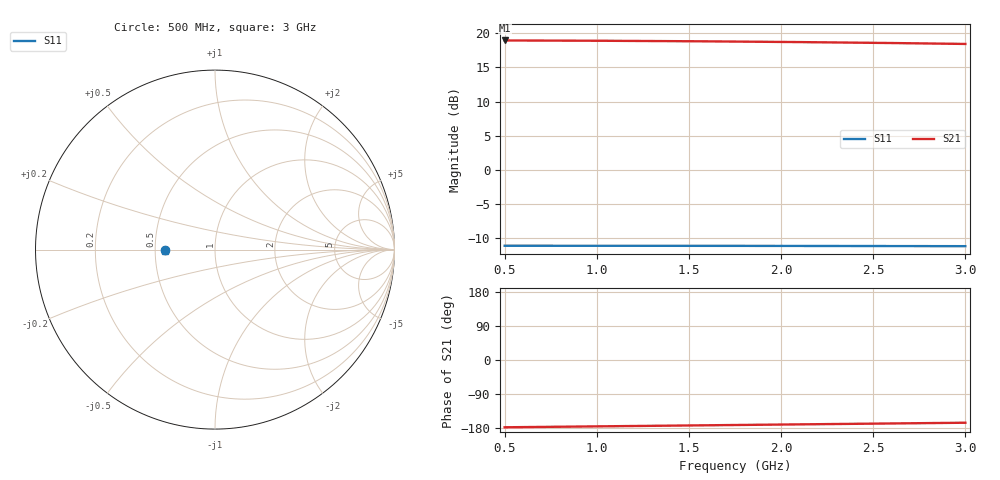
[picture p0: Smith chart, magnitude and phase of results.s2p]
! rfsim (KiCad + openEMS)
# HZ S RI R 50
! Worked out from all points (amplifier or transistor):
!   251 points, 500 MHz to 3 GHz, reference 50 ohm
!   highest |S21| = 19.0 dB at 500 MHz (marker M1)
!   |S21| within 3 dB of that: start of sweep to end of sweep
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5e8  -0.2794 -0.00109  -8.859 -0.3758  0 0  0 0
6e8  -0.2793 -0.00131  -8.849 -0.4505  0 0  0 0
7.1e8  -0.2793 -0.00154  -8.836 -0.5325  0 0  0 0
8.1e8  -0.2793 -0.00176  -8.822 -0.6067  0 0  0 0
9.2e8  -0.2792 -0.00199  -8.805 -0.688  0 0  0 0
1.02e9  -0.2792 -0.00221  -8.788 -0.7615  0 0  0 0
1.13e9  -0.2791 -0.00244  -8.767 -0.8419  0 0  0 0
1.23e9  -0.279 -0.00265  -8.746 -0.9146  0 0  0 0
1.34e9  -0.279 -0.00288  -8.721 -0.994  0 0  0 0
1.54e9  -0.2788 -0.00329  -8.67 -1.137  0 0  0 0
1.64e9  -0.2787 -0.0035  -8.642 -1.207  0 0  0 0
1.75e9  -0.2786 -0.00372  -8.609 -1.284  0 0  0 0
1.85e9  -0.2785 -0.00392  -8.578 -1.353  0 0  0 0
1.96e9  -0.2784 -0.00414  -8.541 -1.428  0 0  0 0
2.06e9  -0.2783 -0.00433  -8.506 -1.496  0 0  0 0
2.17e9  -0.2782 -0.00455  -8.465 -1.57  0 0  0 0
2.27e9  -0.2781 -0.00474  -8.426 -1.636  0 0  0 0
2.38e9  -0.278 -0.00494  -8.382 -1.707  0 0  0 0
2.48e9  -0.2779 -0.00513  -8.34 -1.771  0 0  0 0
2.59e9  -0.2777 -0.00533  -8.292 -1.841  0 0  0 0
2.79e9  -0.2774 -0.00569  -8.2 -1.964  0 0  0 0
3e9  -0.2771 -0.00605  -8.096 -2.088  0 0  0 0
